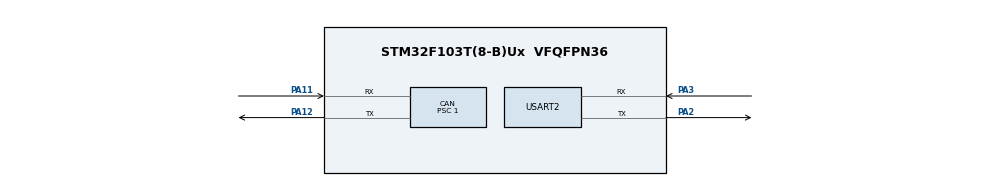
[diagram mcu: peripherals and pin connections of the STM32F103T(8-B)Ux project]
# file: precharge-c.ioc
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CAN.BS1=CAN_BS1_13TQ
CAN.BS2=CAN_BS2_2TQ
CAN.CalculateBaudRate=500000
CAN.CalculateTimeBit=2000
CAN.CalculateTimeQuantum=125.0
CAN.Prescaler=1
Mcu.Family=STM32F1
Mcu.Name=STM32F103T(8-B)Ux
Mcu.Package=VFQFPN36
NVIC.PriorityGroup=NVIC_PRIORITYGROUP_4
PA11.Mode=CAN_Activate
PA11.Signal=CAN_RX
PA12.Mode=CAN_Activate
PA12.Signal=CAN_TX
PA2.Mode=Asynchronous
PA2.Signal=USART2_TX
PA3.Mode=Asynchronous
PA3.Signal=USART2_RX
ProjectManager.HeapSize=0x200
ProjectManager.StackSize=0x400
ProjectManager.TargetToolchain=Makefile
RCC.APB1Freq_Value=8000000
RCC.APB2Freq_Value=8000000
USART2.VirtualMode=VM_ASYNC
VP_SYS_VS_ND.Mode=No_Debug
board=custom

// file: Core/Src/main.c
/* USER CODE BEGIN Header */
/**
 ******************************************************************************
 * @file           : main.c
 * @brief          : Main program body
 ******************************************************************************
 * @attention
 *
 * Copyright (c) 2026 STMicroelectronics.
 * All rights reserved.
 *
 * This software is licensed under terms that can be found in the LICENSE file
 * in the root directory of this software component.
 * If no LICENSE file comes with this software, it is provided AS-IS.
 *
 ******************************************************************************
 */
/* USER CODE END Header */
#include "main.h"

CAN_HandleTypeDef hcan;

UART_HandleTypeDef huart2;

/* USER CODE BEGIN PV */
static const ProtocolConfig BASE_CONFIG = {
    .ready = false, // Change to true once ready
    .bitrate = 500000,
    .bms = {.id = 0x6B1,
            .kind = STANDARD,
            .offset = 2,
            .width = TWO,
            .endian = BIG,
            .multiplier = 1,
            .divisor = 10,
            .cartOffset = 5},
    .inverter = {.id = 0x0A7,
                 .kind = STANDARD,
                 .offset = 0,
                 .width = TWO,
                 .endian = LITTLE,
                 .multiplier = 1,
                 .divisor = 10,
                 .cartOffset = 0},
    .minVoltage = 0,
    .maxVoltage = 450,
    .thresholdPercent = 90,
    .qualifyingSamples = 3,
    .freshnessTimeoutMS = 10000, // 10 sec
    .prechargeTimeoutMS = 300000 // 5 min
};

static Controller controller;
/* USER CODE END PV */

void SystemClock_Config(void);
static void MX_GPIO_Init(void);
static void MX_CAN_Init(void);
static void MX_USART2_UART_Init(void);

/* USER CODE BEGIN 0 */
// For using printf() from tempSensor code
int _write(int file, char *ptr, int len) {
  (void)file;
  HAL_UART_Transmit(&huart2, (uint8_t *)ptr, (uint16_t)len, HAL_MAX_DELAY);
  return len;
}
/* USER CODE END 0 */

int main(void)
{

  /* MCU Configuration--------------------------------------------------------*/

  /* Reset of all peripherals, Initializes the Flash interface and the Systick. */
  HAL_Init();

  /* Configure the system clock */
  SystemClock_Config();

  /* Initialize all configured peripherals */
  MX_GPIO_Init();
  MX_CAN_Init();
  MX_USART2_UART_Init();
  /* USER CODE BEGIN 2 */
  printf("Hello world!\r\n");

  initCAN();

  uint32_t nowMS = HAL_GetTick();
  initController(&controller, BASE_CONFIG, nowMS);
  /* USER CODE END 2 */

  /* Infinite loop */
  while (1) {

    /* USER CODE BEGIN 3 */
    nowMS = HAL_GetTick();
    Frame frame;

    while (rxCAN(&frame)) {
      ingestController(&controller, &frame, nowMS);
    }
    controllerTick(&controller, nowMS);

    Frame info = infoFrame(&controller);
    txCAN(&info);

    if (controller.state == COMPLETE) {
      HAL_GPIO_WritePin(GPIOA, GPIO_PIN_7, GPIO_PIN_SET);
    } else if (controller.state == FAULT || controller.state == PRECHARGING) {
      HAL_GPIO_WritePin(GPIOA, GPIO_PIN_7, GPIO_PIN_RESET);
    }

    HAL_Delay(LOOP_PERIOD_MS);
  }
  /* USER CODE END 3 */
}

void SystemClock_Config(void)
{
  RCC_OscInitTypeDef RCC_OscInitStruct = {0};
  RCC_ClkInitTypeDef RCC_ClkInitStruct = {0};

  /** Initializes the RCC Oscillators according to the specified parameters
  * in the RCC_OscInitTypeDef structure.
  */
  RCC_OscInitStruct.OscillatorType = RCC_OSCILLATORTYPE_HSI;
  RCC_OscInitStruct.HSIState = RCC_HSI_ON;
  RCC_OscInitStruct.HSICalibrationValue = RCC_HSICALIBRATION_DEFAULT;
  RCC_OscInitStruct.PLL.PLLState = RCC_PLL_NONE;
  if (HAL_RCC_OscConfig(&RCC_OscInitStruct) != HAL_OK)
  {
    Error_Handler();
  }

  /** Initializes the CPU, AHB and APB buses clocks
  */
  RCC_ClkInitStruct.ClockType = RCC_CLOCKTYPE_HCLK|RCC_CLOCKTYPE_SYSCLK
                              |RCC_CLOCKTYPE_PCLK1|RCC_CLOCKTYPE_PCLK2;
  RCC_ClkInitStruct.SYSCLKSource = RCC_SYSCLKSOURCE_HSI;
  RCC_ClkInitStruct.AHBCLKDivider = RCC_SYSCLK_DIV1;
  RCC_ClkInitStruct.APB1CLKDivider = RCC_HCLK_DIV1;
  RCC_ClkInitStruct.APB2CLKDivider = RCC_HCLK_DIV1;

  if (HAL_RCC_ClockConfig(&RCC_ClkInitStruct, FLASH_LATENCY_0) != HAL_OK)
  {
    Error_Handler();
  }
}

static void MX_CAN_Init(void)
{

  hcan.Instance = CAN1;
  hcan.Init.Prescaler = 1;
  hcan.Init.Mode = CAN_MODE_NORMAL;
  hcan.Init.SyncJumpWidth = CAN_SJW_1TQ;
  hcan.Init.TimeSeg1 = CAN_BS1_13TQ;
  hcan.Init.TimeSeg2 = CAN_BS2_2TQ;
  hcan.Init.TimeTriggeredMode = DISABLE;
  hcan.Init.AutoBusOff = DISABLE;
  hcan.Init.AutoWakeUp = DISABLE;
  hcan.Init.AutoRetransmission = DISABLE;
  hcan.Init.ReceiveFifoLocked = DISABLE;
  hcan.Init.TransmitFifoPriority = DISABLE;
  if (HAL_CAN_Init(&hcan) != HAL_OK)
  {
    Error_Handler();
  }

}

static void MX_USART2_UART_Init(void)
{

  huart2.Instance = USART2;
  huart2.Init.BaudRate = 115200;
  huart2.Init.WordLength = UART_WORDLENGTH_8B;
  huart2.Init.StopBits = UART_STOPBITS_1;
  huart2.Init.Parity = UART_PARITY_NONE;
  huart2.Init.Mode = UART_MODE_TX_RX;
  huart2.Init.HwFlowCtl = UART_HWCONTROL_NONE;
  huart2.Init.OverSampling = UART_OVERSAMPLING_16;
  if (HAL_UART_Init(&huart2) != HAL_OK)
  {
    Error_Handler();
  }

}

static void MX_GPIO_Init(void)
{
  /* USER CODE BEGIN MX_GPIO_Init_1 */
  GPIO_InitTypeDef GPIO_InitStruct = {0};
  /* USER CODE END MX_GPIO_Init_1 */

  /* GPIO Ports Clock Enable */
  __HAL_RCC_GPIOD_CLK_ENABLE();
  __HAL_RCC_GPIOA_CLK_ENABLE();
  __HAL_RCC_GPIOB_CLK_ENABLE();

  /* USER CODE BEGIN MX_GPIO_Init_2 */
  HAL_GPIO_WritePin(GPIOA, GPIO_PIN_7, GPIO_PIN_RESET);

  GPIO_InitStruct.Pin = GPIO_PIN_7;
  GPIO_InitStruct.Mode = GPIO_MODE_OUTPUT_PP;
  GPIO_InitStruct.Pull = GPIO_NOPULL;
  GPIO_InitStruct.Speed = GPIO_SPEED_FREQ_LOW;
  HAL_GPIO_Init(GPIOA, &GPIO_InitStruct);
  /* USER CODE END MX_GPIO_Init_2 */
}

/* USER CODE BEGIN 4 */
uint32_t packedFilterId(VoltageSpec spec) {
  if (spec.kind == EXTENDED) {
    return ((spec.id & 0x1FFFFFFF) << 3) | (1 << 2);
  } else {
    return (spec.id & 0x7FF) << 21;
  }
}

void initCAN(void) {
  CAN_FilterTypeDef filter = {0};

  filter.FilterBank = 0;
  filter.FilterMode = CAN_FILTERMODE_IDLIST; // Set filter mode to List Mode
  filter.FilterScale = CAN_FILTERSCALE_32BIT;
  filter.FilterFIFOAssignment = CAN_FILTER_FIFO0;
  filter.FilterActivation = ENABLE;

  filter.SlaveStartFilterBank = 14;

  uint32_t bmsFilter = packedFilterId(BASE_CONFIG.bms);
  uint32_t invFilter = packedFilterId(BASE_CONFIG.inverter);

  filter.FilterIdHigh = (uint16_t)(bmsFilter >> 16); // Hold CAN ID #1
  filter.FilterIdLow = (uint16_t)(bmsFilter & 0xFFFF);
  filter.FilterMaskIdHigh = (uint16_t)(invFilter >> 16); // Hold CAN ID #2
  filter.FilterMaskIdLow = (uint16_t)(invFilter & 0xFFFF);

  if (HAL_CAN_ConfigFilter(&hcan, &filter) != HAL_OK) {
    Error_Handler();
  }

  if (HAL_CAN_Start(&hcan) != HAL_OK) {
    Error_Handler();
  }
}

bool checkSpec(VoltageSpec spec) {
  if (spec.kind == STANDARD && spec.id > 0x7FF) {
    return false;
  }
  if (spec.kind == EXTENDED && spec.id > 0x1FFFFFFF) {
    return false;
  }
  if ((spec.offset + (uint8_t)spec.width) > 8) {
    return false;
  }
  if (spec.divisor == 0) {
    return false;
  }

  return true;
}

bool checkConfig(ProtocolConfig config) {
  return config.ready && checkSpec(config.bms) && checkSpec(config.inverter) &&
         !(config.bms.id == config.inverter.id && config.bms.kind == config.inverter.kind) &&
         (config.minVoltage <= config.maxVoltage) && (config.maxVoltage <= 0xFFFF) &&
         (config.thresholdPercent > 0) && (config.thresholdPercent <= 100) &&
         (config.qualifyingSamples > 0) && (config.freshnessTimeoutMS > 0) &&
         (config.prechargeTimeoutMS > 0);
}

void initController(Controller *self, ProtocolConfig config, uint32_t nowMS) {
  self->config = config;
  bool valid = checkConfig(config);
  self->state = valid ? WAITING_FOR_BMS : FAULT;
  self->fault = valid ? NONE : CONFIGURATION; // Set fault code to CONFIGURATION
  self->startedMS = nowMS;
  self->prechargingStartedMS = 0;
  self->hasPrechargingStartedMS = false;
  self->bms.valid = false;
  self->inverter.valid = false;
  self->consecutiveQualifying = 0;
}

bool rxCAN(Frame *frame) {
  if (HAL_CAN_GetRxFifoFillLevel(&hcan, CAN_RX_FIFO0) == 0) {
    return false;
  }

  CAN_RxHeaderTypeDef header;
  if (HAL_CAN_GetRxMessage(&hcan, CAN_RX_FIFO0, &header, frame->data) != HAL_OK) {
    return false;
  }

  frame->kind = (header.IDE == CAN_ID_EXT) ? EXTENDED : STANDARD;
  frame->id = (header.IDE == CAN_ID_EXT) ? header.ExtId : header.StdId;
  frame->remote = (header.RTR == CAN_RTR_REMOTE);
  frame->dlc = (uint8_t)header.DLC;
  return true;
}

bool matchSpec(const Frame *frame, VoltageSpec spec) {
  return (frame->id == spec.id) && (frame->kind == spec.kind);
}

DecodeError checkCart(const Frame *frame, VoltageSpec spec, bool *outCart) {
  if (frame->remote) {
    return REMOTE_FRAME;
  }
  if (!matchSpec(frame, spec)) {
    return WRONG_FRAME;
  }
  // No cart flag present but valid frame
  if (!spec.cartOffset) {
    *outCart = false;
    return OK;
  }
  if (frame->dlc <= spec.cartOffset) {
    return PAYLOAD_TOO_SHORT;
  }

  uint8_t raw = frame->data[spec.cartOffset];

  if (raw == 0) {
    *outCart = true;
    return OK;
  } else if (raw == 1) {
    *outCart = false;
    return OK;
  }

  return INVALID_CART_FLAG;
}

void controllerLatch(Controller *self, Fault fault) {
  self->state = FAULT;
  self->fault = fault;
}

DecodeError decodeVoltage(const Frame *frame, VoltageSpec spec, uint32_t *outVal) {
  if (frame->remote)
    return REMOTE_FRAME;
  if (!matchSpec(frame, spec))
    return WRONG_FRAME;
  if (frame->dlc < (spec.offset + (uint8_t)spec.width))
    return PAYLOAD_TOO_SHORT;
  if (spec.divisor == 0)
    return INVALID_SCALE;

  uint32_t raw = 0;
  const uint8_t *p = &frame->data[spec.offset];

  switch (spec.width) {
  case ONE:
    raw = p[0];
    break;
  case TWO:
    if (spec.endian == LITTLE) {
      raw = (uint32_t)p[0] | ((uint32_t)p[1] << 8);
    } else {
      raw = ((uint32_t)p[0] << 8) | (uint32_t)p[1];
    }
    break;
  case FOUR:
    if (spec.endian == LITTLE) {
      raw =
          (uint32_t)p[0] | ((uint32_t)p[1] << 8) | ((uint32_t)p[2] << 16) | ((uint32_t)p[3] << 24);
    } else {
      raw =
          ((uint32_t)p[0] << 24) | ((uint32_t)p[1] << 16) | ((uint32_t)p[2] << 8) | (uint32_t)p[3];
    }
    break;
  }

  uint64_t scaled = (uint64_t)raw * spec.multiplier;
  if (scaled > 0xFFFFFFFFULL) {
    return OVERFLOW;
  }

  *outVal = (uint32_t)(scaled / spec.divisor);
  return OK;
}

bool isPlausible(const Controller *self, uint32_t value) {
  return (value >= self->config.minVoltage && value <= self->config.maxVoltage);
}

void controllerQualify(Controller *self, uint32_t nowMS) {
  if (!self->bms.valid) {
    self->consecutiveQualifying = 0;
    return;
  }
  if (elapsed(nowMS, self->bms.timestamp) >= self->config.freshnessTimeoutMS) {
    controllerLatch(self, STALE_BMS);
    return;
  }

  // Calculate 90% check
  uint64_t lhs = (uint64_t)self->inverter.value * 100ULL;
  uint64_t rhs = (uint64_t)self->bms.value * self->config.thresholdPercent;

  if (self->state == COMPLETE && self->inverter.value < 200) {
    self->state = PRECHARGING;
    return;
  }

  // 3 count check
  if (lhs >= rhs) {
    self->consecutiveQualifying++;
    if (self->consecutiveQualifying >= self->config.qualifyingSamples) {
      self->state = COMPLETE;
    }
  } else {
    self->consecutiveQualifying = 0;
  }
}

void ingestController(Controller *self, const Frame *frame, uint32_t nowMS) {
  if (matchSpec(frame, self->config.bms)) {
    bool cart = false;
    DecodeError cartError = checkCart(frame, self->config.bms, &cart);
    if (cartError != OK) {
      controllerLatch(self, MALFORMED_FRAME);
      return;
    }
    if (self->state == WAITING_FOR_BMS && cart) {
      self->state = COMPLETE;
      return;
    }
    uint32_t value = 0;
    if (decodeVoltage(frame, self->config.bms, &value) != OK) {
      controllerLatch(self, MALFORMED_FRAME);
      return;
    }
    self->bms.value = value;
    self->bms.timestamp = nowMS;
    self->bms.valid = true;

    if (!isPlausible(self, value)) {
      controllerLatch(self, IMPLAUSIBLE_VOLTAGE);
      return;
    }
    if (self->state == WAITING_FOR_BMS) {
      self->state = PRECHARGING;
      self->prechargingStartedMS = nowMS;
      self->hasPrechargingStartedMS = true;
    }
  } else if (matchSpec(frame, self->config.inverter)) {
    uint32_t value = 0;
    if (decodeVoltage(frame, self->config.inverter, &value) != OK) {
      controllerLatch(self, MALFORMED_FRAME);
      return;
    }
    self->inverter.value = value;
    self->inverter.timestamp = nowMS;
    self->inverter.valid = true;

    if (!isPlausible(self, value)) {
      controllerLatch(self, IMPLAUSIBLE_VOLTAGE);
      return;
    }
    controllerQualify(self, nowMS);
  }
}

uint32_t elapsed(uint32_t now, uint32_t then) { return now - then; }

void controllerTick(Controller *self, uint32_t nowMS) {
  if (self->state == COMPLETE || self->state == FAULT) {
    return;
  }
  if (elapsed(nowMS, self->startedMS) >= self->config.prechargeTimeoutMS) {
    controllerLatch(self, TIMEOUT);
    return;
  }
  if (self->state == WAITING_FOR_BMS) {
    if (elapsed(nowMS, self->startedMS) >= self->config.freshnessTimeoutMS) {
      controllerLatch(self, STALE_BMS);
    }
    return;
  }
  if (!self->bms.valid || elapsed(nowMS, self->bms.timestamp) >= self->config.freshnessTimeoutMS) {
    controllerLatch(self, STALE_BMS);
    return;
  }
  if (self->inverter.valid) {
    if (elapsed(nowMS, self->inverter.timestamp) >= self->config.freshnessTimeoutMS) {
      controllerLatch(self, STALE_INVERTER);
      return;
    }
  } else if (self->hasPrechargingStartedMS &&
             elapsed(nowMS, self->prechargingStartedMS) >= self->config.freshnessTimeoutMS) {
    controllerLatch(self, STALE_INVERTER);
    return;
  }
}

bool txCAN(const Frame *frame) {
  if (HAL_CAN_GetTxMailboxesFreeLevel(&hcan) < 1) {
    return false;
  }

  if (frame == NULL) {
    return false;
  }

  uint32_t maxId = (frame->kind == EXTENDED) ? 0x1FFFFFFF : 0x7FF;
  if (frame->id > maxId || frame->dlc > 8) {
    return false;
  }

  CAN_TxHeaderTypeDef header = {0};
  uint32_t txMailbox = 0;

  header.DLC = frame->dlc;
  header.RTR = CAN_RTR_DATA;
  header.TransmitGlobalTime = DISABLE;

  if (frame->kind == EXTENDED) {
    header.IDE = CAN_ID_EXT;
    header.ExtId = frame->id;
  } else {
    header.IDE = CAN_ID_STD;
    header.StdId = frame->id;
  }

  return (HAL_CAN_AddTxMessage(&hcan, &header, (uint8_t *)frame->data, &txMailbox) == HAL_OK);
}

Frame infoFrame(const Controller *self) {
  Frame frame = {.id = CAN_ID, .kind = STANDARD, .remote = false, .dlc = 5, .data = {0}};
  if (self->fault != NONE) {
    frame.data[0] = (uint8_t)self->fault;
  } else {
    if (self->state == COMPLETE) {
      frame.data[0] = 7;
    } else if (self->state == PRECHARGING) {
      frame.data[0] = 8;
    } else {
      frame.data[0] = 0;
    }
  }

  if (self->bms.valid) {
    frame.data[1] = (uint8_t)((self->bms.value >> 8) & 0xFF);
    frame.data[2] = (uint8_t)(self->bms.value & 0xFF);
  }
  if (self->inverter.valid) {
    frame.data[3] = (uint8_t)((self->inverter.value >> 8) & 0xFF);
    frame.data[4] = (uint8_t)(self->inverter.value & 0xFF);
  }
  return frame;
}
/* USER CODE END 4 */

void Error_Handler(void)
{
  __disable_irq();
  while (1) {
  }
}
